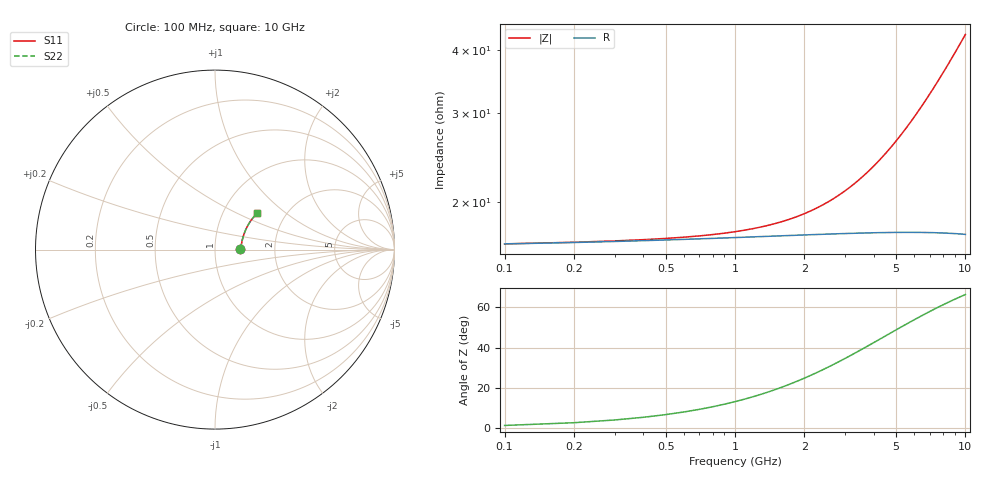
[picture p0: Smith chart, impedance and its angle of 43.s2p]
# Hz S RI R 50.00
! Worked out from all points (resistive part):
!   100 points, 100 MHz to 10 GHz, reference 50 ohm
!   read as one part in series: R = 16.5 ohm at 100 MHz
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1e8  0.1417 0.00239  0.8583 -0.00345  0.8583 -0.00345  0.1417 0.00239
2e8  0.1425 0.00477  0.8575 -0.0069  0.8575 -0.0069  0.1425 0.00477
3e8  0.1431 0.00714  0.8569 -0.0103  0.8569 -0.0103  0.1431 0.00714
8e8  0.1454 0.0189  0.8546 -0.0274  0.8546 -0.0274  0.1454 0.0189
1.1e9  0.1466 0.026  0.8533 -0.0377  0.8533 -0.0377  0.1466 0.026
1.4e9  0.1479 0.0329  0.852 -0.0479  0.852 -0.0479  0.1479 0.0329
1.8e9  0.1497 0.0422  0.8501 -0.0614  0.8501 -0.0614  0.1497 0.0422
2.1e9  0.1512 0.0491  0.8485 -0.0715  0.8485 -0.0715  0.1512 0.0491
2.5e9  0.1533 0.0582  0.8463 -0.0849  0.8463 -0.0849  0.1533 0.0582
2.9e9  0.1557 0.0673  0.8437 -0.0982  0.8437 -0.0982  0.1557 0.0673
3.4e9  0.1591 0.0785  0.8402 -0.1147  0.8402 -0.1147  0.1591 0.0785
4.2e9  0.1652 0.096  0.8337 -0.1408  0.8337 -0.1408  0.1652 0.096
5.1e9  0.1733 0.1151  0.8251 -0.1695  0.8251 -0.1695  0.1733 0.1151
6e9  0.1825 0.1335  0.8152 -0.1975  0.8152 -0.1975  0.1825 0.1335
6.7e9  0.1906 0.1472  0.8067 -0.2187  0.8067 -0.2187  0.1906 0.1472
7.2e9  0.1967 0.1567  0.8001 -0.2335  0.8001 -0.2335  0.1967 0.1567
7.6e9  0.2018 0.164  0.7946 -0.2452  0.7946 -0.2452  0.2018 0.164
8e9  0.2072 0.1712  0.7889 -0.2567  0.7889 -0.2567  0.2072 0.1712
8.4e9  0.2127 0.1782  0.7829 -0.2679  0.7829 -0.2679  0.2127 0.1782
8.8e9  0.2184 0.1849  0.7768 -0.279  0.7768 -0.279  0.2184 0.1849
9.2e9  0.2243 0.1915  0.7705 -0.2898  0.7705 -0.2898  0.2243 0.1915
1e10  0.2365 0.2039  0.7573 -0.3109  0.7573 -0.3109  0.2365 0.2039
